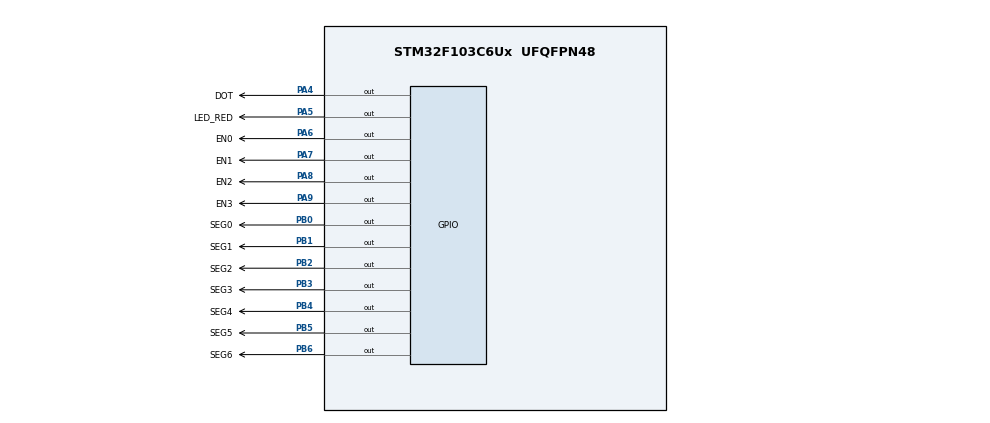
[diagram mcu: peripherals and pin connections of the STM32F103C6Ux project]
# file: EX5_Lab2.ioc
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Mcu.Family=STM32F1
Mcu.Name=STM32F103C6Ux
Mcu.Package=UFQFPN48
NVIC.PriorityGroup=NVIC_PRIORITYGROUP_4
NVIC.TIM2_IRQn=true\:0\:0\:false\:false\:true\:true\:true
PA4.GPIO_Label=DOT
PA4.Signal=GPIO_Output
PA5.GPIO_Label=LED_RED
PA5.Signal=GPIO_Output
PA6.GPIO_Label=EN0
PA6.Signal=GPIO_Output
PA7.GPIO_Label=EN1
PA7.Signal=GPIO_Output
PA8.GPIO_Label=EN2
PA8.Signal=GPIO_Output
PA9.GPIO_Label=EN3
PA9.Signal=GPIO_Output
PB0.GPIO_Label=SEG0
PB0.Signal=GPIO_Output
PB1.GPIO_Label=SEG1
PB1.Signal=GPIO_Output
PB2.GPIO_Label=SEG2
PB2.Signal=GPIO_Output
PB3.GPIO_Label=SEG3
PB3.Signal=GPIO_Output
PB4.GPIO_Label=SEG4
PB4.Signal=GPIO_Output
PB5.GPIO_Label=SEG5
PB5.Signal=GPIO_Output
PB6.GPIO_Label=SEG6
PB6.Signal=GPIO_Output
ProjectManager.HeapSize=0x200
ProjectManager.StackSize=0x400
ProjectManager.TargetToolchain=STM32CubeIDE
RCC.APB1Freq_Value=8000000
RCC.APB2Freq_Value=8000000
TIM2.Period=9
TIM2.Prescaler=7999
VP_SYS_VS_ND.Mode=No_Debug
VP_TIM2_VS_ClockSourceINT.Mode=Internal
board=custom

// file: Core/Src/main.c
/* USER CODE BEGIN Header */
/**
  ******************************************************************************
  * @file           : main.c
  * @brief          : Main program body
  ******************************************************************************
  * @attention
  *
  * <h2><center>&copy; Copyright (c) 2025 STMicroelectronics.
  * All rights reserved.</center></h2>
  *
  * This software component is licensed by ST under BSD 3-Clause license,
  * the "License"; You may not use this file except in compliance with the
  * License. You may obtain a copy of the License at:
  *                        opensource.org/licenses/BSD-3-Clause
  *
  ******************************************************************************
  */
/* USER CODE END Header */
#include "main.h"

TIM_HandleTypeDef htim2;

void SystemClock_Config(void);
static void MX_GPIO_Init(void);
static void MX_TIM2_Init(void);

/* USER CODE BEGIN 0 */
const int MAX_LED = 4;
int index_led = 0;
int led_buffer[4] = {1, 5, 0, 8};
int pinControll7SEG[4] = {EN0_Pin, EN1_Pin, EN2_Pin, EN3_Pin};

int led_scan_counter = 0;
int dot_counter = 0;
int dot_status = 0;

int hour = 15, minute = 8, second = 50;
int timer0_counter = 0;
int timer0_flag = 0;
int timer1_counter = 0;
int timer1_flag = 0;
int TIMER_CYCLE = 10;

void setTimer0(int duration){
	  timer0_counter = duration /TIMER_CYCLE;
	  timer0_flag = 0;
}

void setTimer1(int duration){
	timer1_counter = duration / TIMER_CYCLE;
	timer1_flag = 0;
}

void timer_run(){
	if (timer0_counter > 0) {
		timer0_counter--;
		if (timer0_counter == 0) timer0_flag = 1;
	}
	if (timer1_counter >0) {
		timer1_counter--;
		if (timer1_counter == 0) timer1_flag = 1;
	}
}
/* USER CODE END 0 */

int main(void)
{
  /* USER CODE BEGIN 1 */
	void updateClockBuffer () {
		  led_buffer[0] = hour / 10;
		  led_buffer[1] = hour % 10;
		  led_buffer[2] = minute / 10;
		  led_buffer[3] = minute % 10;
	  }
  /* USER CODE END 1 */

  /* MCU Configuration--------------------------------------------------------*/

  /* Reset of all peripherals, Initializes the Flash interface and the Systick. */
  HAL_Init();

  /* Configure the system clock */
  SystemClock_Config();

  /* Initialize all configured peripherals */
  MX_GPIO_Init();
  MX_TIM2_Init();
  /* USER CODE BEGIN 2 */
  updateClockBuffet();
  HAL_TIM_Base_Start_IT(&htim2);
  /* USER CODE END 2 */

  /* Infinite loop */
  /* USER CODE BEGIN WHILE */
  void timer_run() {
	  if (timer0_counter > 0){
		  timer0_counter--;
		  if (timer0_counter == 0) timer0_flag = 1;
	  }
  }

  setTimer0(1000);
  while (1)
  {
    /* USER CODE END WHILE */
	  if (timer0_flag == 1)
	  {
		  second++;
		  if (second > 60) {
			  second = 0;
			  minute++;
		  }
		  if (minute > 60) {
			  minute = 0;
			  hour++;
		  }
		  if (hour > 24) {
			  hour = 0;
		  }

		  updateClockBuffer();
		  setTimer0(1000);
	  }
  }

void SystemClock_Config(void)
{
  RCC_OscInitTypeDef RCC_OscInitStruct = {0};
  RCC_ClkInitTypeDef RCC_ClkInitStruct = {0};

  /** Initializes the RCC Oscillators according to the specified parameters
  * in the RCC_OscInitTypeDef structure.
  */
  RCC_OscInitStruct.OscillatorType = RCC_OSCILLATORTYPE_HSI;
  RCC_OscInitStruct.HSIState = RCC_HSI_ON;
  RCC_OscInitStruct.HSICalibrationValue = RCC_HSICALIBRATION_DEFAULT;
  RCC_OscInitStruct.PLL.PLLState = RCC_PLL_NONE;
  if (HAL_RCC_OscConfig(&RCC_OscInitStruct) != HAL_OK)
  {
    Error_Handler();
  }
  /** Initializes the CPU, AHB and APB buses clocks
  */
  RCC_ClkInitStruct.ClockType = RCC_CLOCKTYPE_HCLK|RCC_CLOCKTYPE_SYSCLK
                              |RCC_CLOCKTYPE_PCLK1|RCC_CLOCKTYPE_PCLK2;
  RCC_ClkInitStruct.SYSCLKSource = RCC_SYSCLKSOURCE_HSI;
  RCC_ClkInitStruct.AHBCLKDivider = RCC_SYSCLK_DIV1;
  RCC_ClkInitStruct.APB1CLKDivider = RCC_HCLK_DIV1;
  RCC_ClkInitStruct.APB2CLKDivider = RCC_HCLK_DIV1;

  if (HAL_RCC_ClockConfig(&RCC_ClkInitStruct, FLASH_LATENCY_0) != HAL_OK)
  {
    Error_Handler();
  }
}

static void MX_TIM2_Init(void)
{

  TIM_ClockConfigTypeDef sClockSourceConfig = {0};
  TIM_MasterConfigTypeDef sMasterConfig = {0};

  htim2.Instance = TIM2;
  htim2.Init.Prescaler = 7999;
  htim2.Init.CounterMode = TIM_COUNTERMODE_UP;
  htim2.Init.Period = 9;
  htim2.Init.ClockDivision = TIM_CLOCKDIVISION_DIV1;
  htim2.Init.AutoReloadPreload = TIM_AUTORELOAD_PRELOAD_DISABLE;
  if (HAL_TIM_Base_Init(&htim2) != HAL_OK)
  {
    Error_Handler();
  }
  sClockSourceConfig.ClockSource = TIM_CLOCKSOURCE_INTERNAL;
  if (HAL_TIM_ConfigClockSource(&htim2, &sClockSourceConfig) != HAL_OK)
  {
    Error_Handler();
  }
  sMasterConfig.MasterOutputTrigger = TIM_TRGO_RESET;
  sMasterConfig.MasterSlaveMode = TIM_MASTERSLAVEMODE_DISABLE;
  if (HAL_TIMEx_MasterConfigSynchronization(&htim2, &sMasterConfig) != HAL_OK)
  {
    Error_Handler();
  }

}

static void MX_GPIO_Init(void)
{
  GPIO_InitTypeDef GPIO_InitStruct = {0};

  /* GPIO Ports Clock Enable */
  __HAL_RCC_GPIOA_CLK_ENABLE();
  __HAL_RCC_GPIOB_CLK_ENABLE();

  /*Configure GPIO pin Output Level */
  HAL_GPIO_WritePin(GPIOA, DOT_Pin|LED_RED_Pin|EN0_Pin|EN1_Pin
                          |EN2_Pin|EN3_Pin, GPIO_PIN_RESET);

  /*Configure GPIO pin Output Level */
  HAL_GPIO_WritePin(GPIOB, SEG0_Pin|SEG1_Pin|SEG2_Pin|SEG3_Pin
                          |SEG4_Pin|SEG5_Pin|SEG6_Pin, GPIO_PIN_RESET);

  /*Configure GPIO pins : DOT_Pin LED_RED_Pin EN0_Pin EN1_Pin
                           EN2_Pin EN3_Pin */
  GPIO_InitStruct.Pin = DOT_Pin|LED_RED_Pin|EN0_Pin|EN1_Pin
                          |EN2_Pin|EN3_Pin;
  GPIO_InitStruct.Mode = GPIO_MODE_OUTPUT_PP;
  GPIO_InitStruct.Pull = GPIO_NOPULL;
  GPIO_InitStruct.Speed = GPIO_SPEED_FREQ_LOW;
  HAL_GPIO_Init(GPIOA, &GPIO_InitStruct);

  /*Configure GPIO pins : SEG0_Pin SEG1_Pin SEG2_Pin SEG3_Pin
                           SEG4_Pin SEG5_Pin SEG6_Pin */
  GPIO_InitStruct.Pin = SEG0_Pin|SEG1_Pin|SEG2_Pin|SEG3_Pin
                          |SEG4_Pin|SEG5_Pin|SEG6_Pin;
  GPIO_InitStruct.Mode = GPIO_MODE_OUTPUT_PP;
  GPIO_InitStruct.Pull = GPIO_NOPULL;
  GPIO_InitStruct.Speed = GPIO_SPEED_FREQ_LOW;
  HAL_GPIO_Init(GPIOB, &GPIO_InitStruct);

}

/* USER CODE BEGIN 4 */
void clearLed() {
    HAL_GPIO_WritePin(GPIOA, EN0_Pin | EN1_Pin | EN2_Pin | EN3_Pin, SET);
}

void clearEnable () {
	HAL_GPIO_WritePin ( EN0_GPIO_Port , EN0_Pin , 1);
	HAL_GPIO_WritePin ( EN1_GPIO_Port , EN1_Pin , 1);
	HAL_GPIO_WritePin ( EN2_GPIO_Port , EN2_Pin , 1);
	HAL_GPIO_WritePin ( EN3_GPIO_Port , EN3_Pin , 1);
}

void display7SEG(int num) {
    static const uint8_t seven_seg_code[10] = {
        0b1000000, //0
        0b1111001, //1
        0b0100100, //2
        0b0110000, //3
        0b0011001, //4
        0b0010010, //5
        0b0000010, //6
        0b1111000, //7
        0b0000000, //8
        0b0010000  //9
    };

    uint8_t code = seven_seg_code[num];
    HAL_GPIO_WritePin(GPIOB, GPIO_PIN_6, (code & 0b1000000) ? GPIO_PIN_SET : GPIO_PIN_RESET); // a
    HAL_GPIO_WritePin(GPIOB, GPIO_PIN_5, (code & 0b0100000) ? GPIO_PIN_SET : GPIO_PIN_RESET); // b
    HAL_GPIO_WritePin(GPIOB, GPIO_PIN_4, (code & 0b0010000) ? GPIO_PIN_SET : GPIO_PIN_RESET); // c
    HAL_GPIO_WritePin(GPIOB, GPIO_PIN_3, (code & 0b0001000) ? GPIO_PIN_SET : GPIO_PIN_RESET); // d
    HAL_GPIO_WritePin(GPIOB, GPIO_PIN_2, (code & 0b0000100) ? GPIO_PIN_SET : GPIO_PIN_RESET); // e
    HAL_GPIO_WritePin(GPIOB, GPIO_PIN_1, (code & 0b0000010) ? GPIO_PIN_SET : GPIO_PIN_RESET); // f
    HAL_GPIO_WritePin(GPIOB, GPIO_PIN_0, (code & 0b0000001) ? GPIO_PIN_SET : GPIO_PIN_RESET); // g
}

void enablePin(int index) {
    HAL_GPIO_WritePin(GPIOA, pinControll7SEG[index], RESET);
}

void update7SEG(int index) {
    clearLed();
    clearEnable ();
    switch (index) {
    case 0:
        display7SEG(led_buffer[0]);
        enablePin(0);
        break;
    case 1:
        display7SEG(led_buffer[1]);
        enablePin(1);
        break;
    case 2:
        display7SEG(led_buffer[2]);
        enablePin(2);
        break;
    case 3:
        display7SEG(led_buffer[3]);
        enablePin(3);
        break;
    default:
        break;
    }
}

void HAL_TIM_PeriodElapsedCallback(TIM_HandleTypeDef *htim)
{
	if (htim->Instance == TIM2) {
	        timer_run();

	        led_scan_counter++;
	        dot_counter++;

	        if (dot_counter >= 100) {
	            dot_counter = 0;
	            dot_status = !dot_status;
	            HAL_GPIO_WritePin(GPIOA, GPIO_PIN_4, dot_status ? GPIO_PIN_RESET : GPIO_PIN_SET);
	            HAL_GPIO_WritePin(GPIOA, GPIO_PIN_5, dot_status ? GPIO_PIN_RESET : GPIO_PIN_SET);
	        }

	        if (led_scan_counter >= 50) {
	            led_scan_counter = 0;
	            update7SEG(index_led);
	            index_led = (index_led + 1) % MAX_LED;
	        }
	    }
}
/* USER CODE END 4 */

void Error_Handler(void)
{
  __disable_irq();
  while (1)
  {
  }
}

/************************ (C) COPYRIGHT STMicroelectronics *****END OF FILE****/
